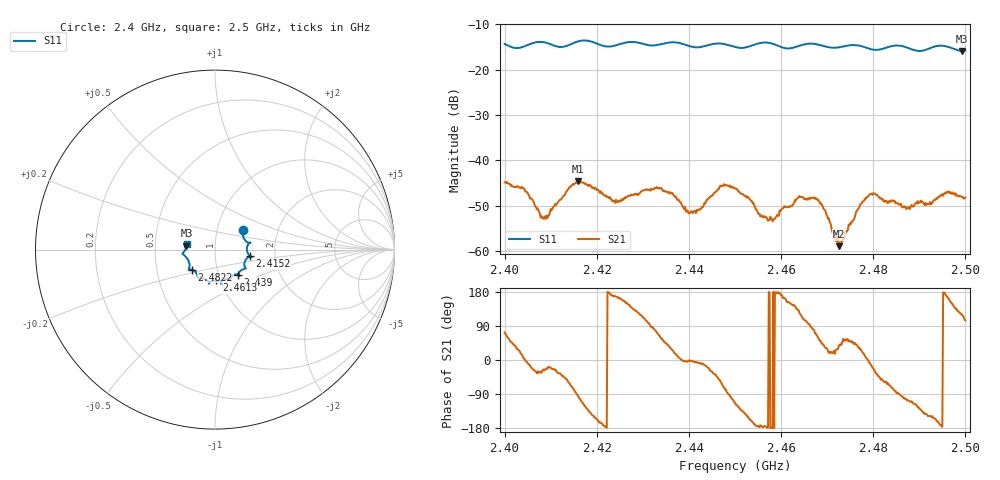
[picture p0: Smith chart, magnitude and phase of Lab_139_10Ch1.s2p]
# Hz S RI R 50
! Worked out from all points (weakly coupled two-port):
!   601 points, 2.4 GHz to 2.5 GHz, reference 50 ohm
!   highest |S21| = -44.65 dB at 2.416 GHz (marker M1); lowest = -58.9 dB at 2.4725 GHz (marker M2)
!   lowest |S11| = -15.9 dB at 2.4993 GHz (marker M3), VSWR 1.38, Z = 36.3 + j1.58 ohm
!   |S11| at or under -10 dB: start of sweep to end of sweep
!   S12 and S22 are empty: the file has one direction only
!   S11 on the Smith chart (normalised r, x): 2.4 GHz: 1.33, +0.31; 2.4152 GHz: 1.48, -0.11; 2.439 GHz: 1.24, -0.36; 2.4613 GHz: 0.96, -0.34; 2.4822 GHz: 0.76, -0.17; 2.5 GHz: 0.73, +0.05
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2.4e9  0.1562 0.1109  0.00172 0.00547  0 0  0 0
2.404167e9  0.1733 0.0463  0.0049 0.000354  0 0  0 0
2.4085e9  0.1963 0.0394  0.00204 -0.000952  0 0  0 0
2.415167e9  0.1948 -0.036  0.000911 -0.00543  0 0  0 0
2.416e9  0.2009 -0.0404  -0.000656 -0.00582  0 0  0 0
2.416667e9  0.2042 -0.042  -0.00186 -0.00539  0 0  0 0
2.424e9  0.1634 -0.0849  -0.00333 0.000734  0 0  0 0
2.433333e9  0.1331 -0.1325  0.00181 0.00459  0 0  0 0
2.439e9  0.1284 -0.139  0.00288 -0.000196  0 0  0 0
2.442e9  0.0987 -0.1457  0.00281 -0.00036  0 0  0 0
2.447167e9  0.0858 -0.1729  0.00232 -0.00471  0 0  0 0
2.45e9  0.0687 -0.164  -0.0019 -0.00455  0 0  0 0
2.457e9  0.0398 -0.1942  -0.00227 -3.35e-05  0 0  0 0
2.461333e9  0.00776 -0.1708  -0.00271 0.00142  0 0  0 0
2.466667e9  -0.0334 -0.1901  0.000341 0.00383  0 0  0 0
2.469167e9  -0.0369 -0.1786  0.00224 0.00193  0 0  0 0
2.4725e9  -0.0715 -0.1604  0.000928 0.00065  0 0  0 0
2.478667e9  -0.0992 -0.1418  0.0039 0.0002  0 0  0 0
2.482167e9  -0.1279 -0.1118  0.00212 -0.00305  0 0  0 0
2.483333e9  -0.1391 -0.1105  0.00146 -0.00315  0 0  0 0
2.499333e9  -0.1589 0.0212  -0.00186 0.00344  0 0  0 0
2.5e9  -0.1584 0.0333  -0.000962 0.00377  0 0  0 0
